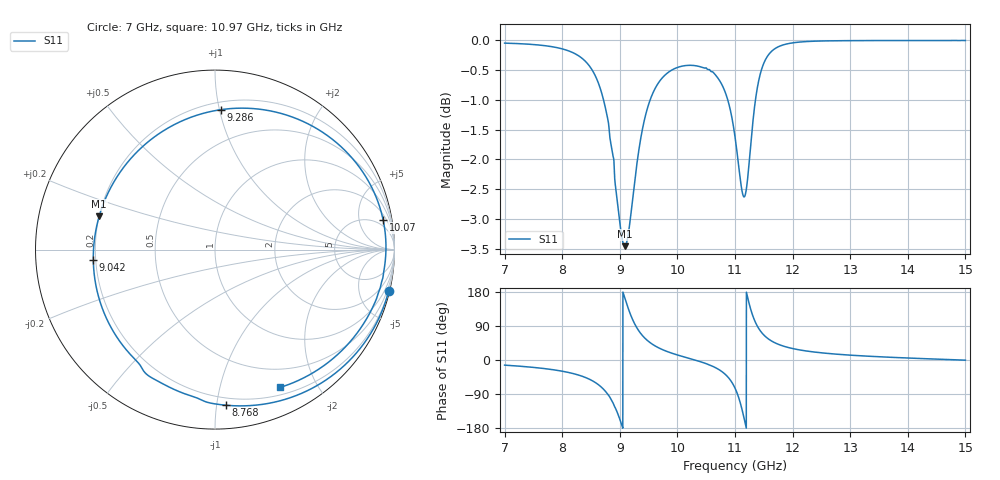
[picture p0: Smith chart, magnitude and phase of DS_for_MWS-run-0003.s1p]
! TOUCHSTONE file generated by CST DESIGN STUDIO
! Date and time: Mon Feb 10 16:50:46 2025
! Project name: C:\Work\MatlabApps\UnitCellType2OptimizationMatlab\CST\unitcell.cst
! Tree item: Tasks\Sweep1\SPara1\S-Parameters
! Header version: 2024
! Port assignment regex: !\s*Touchstone port\s*([0-9]+)\s*=\s*(CST MWS port|CST DES external port|CST DES block port)\s*(.+)\s* \(\"(.*)\"\)(\s*mode\s*([0-9]+))?.*
! Touchstone port assignment:
! Touchstone port 1 = CST DES external port 1 ("")
# GHz S MA R 50
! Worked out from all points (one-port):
!   4001 points, 7 GHz to 15 GHz, reference 50 ohm
!   lowest |S11| = -3.5 dB at 9.086 GHz (marker M1), VSWR 5.09, Z = 10 + j6.78 ohm
!   |S11| at or under -10 dB: nowhere
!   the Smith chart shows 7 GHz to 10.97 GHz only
!   S11 on the Smith chart (normalised r, x): 7 GHz: 0.19, -8.42; 8.768 GHz: 0.15, -1.06; 9.042 GHz: 0.19, -0.04; 9.286 GHz: 0.25, +1.01; 10.07 GHz: 3, +10; 10.97 GHz: 0.28, -1.55
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7  0.9949 -13.5
8  0.9838 -29.6
8.472  0.9519 -50.7
8.768  0.8695 -85.9
8.886  0.7981 -114.4
9  0.7024 -156.2
9.042  0.6804 -175.2
9.086  0.6715 163.9
9.186  0.71 119.9
9.286  0.7803 87.6
9.416  0.8527 60.6
9.562  0.9003 42.0
10  0.949 13.3
10.07  0.9512 10.1
10.684  0.9324 -22.1
10.848  0.8996 -40.3
10.968  0.8495 -64.6
11  0.83 -74.1
11.098  0.7604 -116.5
11.194  0.7482 -178.3
11.282  0.8265 129.1
11.366  0.8989 95.7
11.472  0.9489 70.7
11.598  0.9749 53.6
12  0.9953 30.2
13  0.9996 12.8
14  0.9999 5.2
15  0.9999 -0.4
